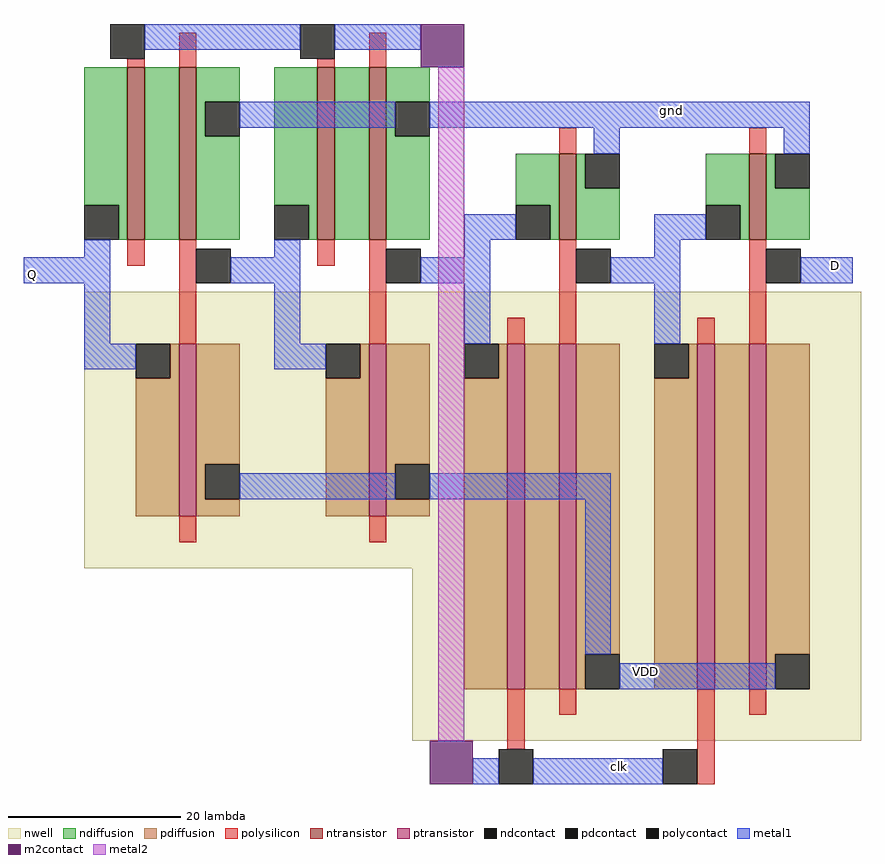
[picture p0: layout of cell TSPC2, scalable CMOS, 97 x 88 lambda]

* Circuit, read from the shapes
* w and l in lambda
.subckt TSPC2 D Q VDD clk gnd
M1 n1 clk Q VSUBS nfet w=20 l=2
M2 gnd n2 n1 VSUBS nfet w=20 l=2
M3 n3 clk n2 VSUBS nfet w=20 l=2
M4 gnd n4 n3 VSUBS nfet w=20 l=2
M5 gnd n5 n4 VSUBS nfet w=10 l=2
M6 gnd D n5 VSUBS nfet w=10 l=2
M7 VDD n2 Q n6 pfet w=20 l=2
M8 VDD n4 n2 n6 pfet w=20 l=2
M9 n7 clk n4 n6 pfet w=40 l=2
M10 VDD n5 n7 n6 pfet w=40 l=2
M11 n8 clk n5 n6 pfet w=40 l=2
M12 VDD D n8 n6 pfet w=40 l=2
.ends

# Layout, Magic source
magic
tech scmos
<< nwell >>
rect 330 -548 420 -516
rect 368 -568 420 -548
<< ntransistor >>
rect 335 -510 337 -490
rect 341 -510 343 -490
rect 357 -510 359 -490
rect 363 -510 365 -490
rect 385 -510 387 -500
rect 407 -510 409 -500
<< ptransistor >>
rect 341 -542 343 -522
rect 363 -542 365 -522
rect 379 -562 381 -522
rect 385 -562 387 -522
rect 401 -562 403 -522
rect 407 -562 409 -522
<< ndiffusion >>
rect 330 -506 335 -490
rect 334 -510 335 -506
rect 337 -510 341 -490
rect 343 -494 348 -490
rect 343 -498 344 -494
rect 343 -510 348 -498
rect 352 -506 357 -490
rect 356 -510 357 -506
rect 359 -510 363 -490
rect 365 -494 370 -490
rect 365 -498 366 -494
rect 365 -510 370 -498
rect 380 -506 385 -500
rect 384 -510 385 -506
rect 387 -504 388 -500
rect 387 -510 392 -504
rect 402 -506 407 -500
rect 406 -510 407 -506
rect 409 -504 410 -500
rect 409 -510 414 -504
<< pdiffusion >>
rect 340 -526 341 -522
rect 336 -542 341 -526
rect 343 -536 348 -522
rect 343 -540 344 -536
rect 343 -542 348 -540
rect 362 -526 363 -522
rect 358 -542 363 -526
rect 365 -536 370 -522
rect 365 -540 366 -536
rect 365 -542 370 -540
rect 378 -526 379 -522
rect 374 -562 379 -526
rect 381 -562 385 -522
rect 387 -558 392 -522
rect 387 -562 388 -558
rect 400 -526 401 -522
rect 396 -562 401 -526
rect 403 -562 407 -522
rect 409 -558 414 -522
rect 409 -562 410 -558
<< ndcontact >>
rect 330 -510 334 -506
rect 344 -498 348 -494
rect 352 -510 356 -506
rect 366 -498 370 -494
rect 380 -510 384 -506
rect 388 -504 392 -500
rect 402 -510 406 -506
rect 410 -504 414 -500
<< pdcontact >>
rect 336 -526 340 -522
rect 344 -540 348 -536
rect 358 -526 362 -522
rect 366 -540 370 -536
rect 374 -526 378 -522
rect 388 -562 392 -558
rect 396 -526 400 -522
rect 410 -562 414 -558
<< polysilicon >>
rect 335 -490 337 -489
rect 341 -490 343 -486
rect 357 -490 359 -489
rect 363 -490 365 -486
rect 385 -500 387 -497
rect 407 -500 409 -497
rect 335 -513 337 -510
rect 341 -522 343 -510
rect 357 -513 359 -510
rect 363 -522 365 -510
rect 379 -522 381 -519
rect 385 -522 387 -510
rect 401 -522 403 -519
rect 407 -522 409 -510
rect 341 -545 343 -542
rect 363 -545 365 -542
rect 379 -569 381 -562
rect 385 -565 387 -562
rect 401 -573 403 -562
rect 407 -565 409 -562
<< polycontact >>
rect 333 -489 337 -485
rect 355 -489 359 -485
rect 343 -515 347 -511
rect 365 -515 369 -511
rect 387 -515 391 -511
rect 409 -515 413 -511
rect 378 -573 382 -569
rect 397 -573 401 -569
<< metal1 >>
rect 337 -488 355 -485
rect 359 -488 369 -485
rect 348 -497 366 -494
rect 370 -497 414 -494
rect 389 -500 392 -497
rect 411 -500 414 -497
rect 374 -510 380 -507
rect 396 -510 402 -507
rect 330 -512 333 -510
rect 323 -515 333 -512
rect 352 -512 355 -510
rect 347 -515 355 -512
rect 374 -512 377 -510
rect 369 -515 377 -512
rect 396 -512 399 -510
rect 391 -515 399 -512
rect 413 -515 419 -512
rect 330 -522 333 -515
rect 352 -522 355 -515
rect 374 -522 377 -515
rect 396 -522 399 -515
rect 330 -525 336 -522
rect 352 -525 358 -522
rect 348 -540 366 -537
rect 370 -540 391 -537
rect 388 -558 391 -540
rect 392 -562 410 -559
rect 375 -573 378 -570
rect 382 -573 397 -570
<< m2contact >>
rect 369 -490 374 -485
rect 370 -573 375 -568
<< metal2 >>
rect 371 -568 374 -490
<< labels >>
rlabel metal1 417 -513 417 -513 7 D
rlabel metal1 398 -495 398 -495 5 gnd
rlabel metal1 392 -571 392 -571 1 clk
rlabel metal1 324 -514 324 -514 1 Q
rlabel metal1 395 -560 395 -560 1 VDD
<< end >>
